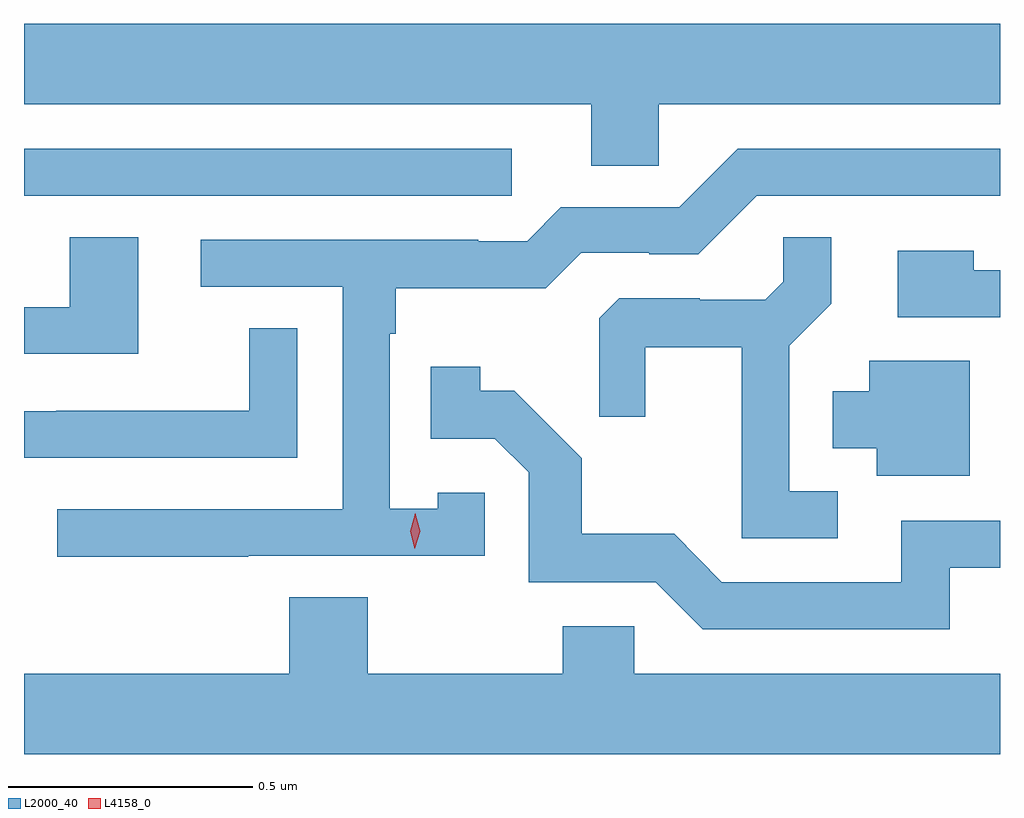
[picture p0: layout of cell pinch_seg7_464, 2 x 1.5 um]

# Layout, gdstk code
import gdstk
lib = gdstk.Library(unit=1e-6, precision=1e-09)
def R(c, l, rs):  # rectangles x0, y0, x1, y1
    for r in rs: c.add(gdstk.rectangle(r[:2], r[2:], *l))
def P(c, l, *ps):  # polygons
    for p in ps: c.add(gdstk.Polygon(p, *l))
L2000_40 = (2000, 40)
L4158_0 = (4158, 0)

pinch_seg7_464 = lib.new_cell('pinch_seg7_464')
R(pinch_seg7_464, L2000_40, [(293.905,1057.704,294.904,1057.8)])
P(pinch_seg7_464, L2000_40, [(295.206,1057.892),(295.905,1057.892),(295.905,1058.056),(293.905,1058.056),(293.905,1057.892),(295.067,1057.892),(295.067,1057.765),(295.206,1057.765)],
  [(294.365,1056.966),(294.849,1056.966),(294.849,1057.095),(294.753,1057.095),(294.753,1057.063),(294.654,1057.063),(294.654,1057.421),(294.667,1057.421),(294.667,1057.514),(294.974,1057.514),(295.047,1057.587),(295.186,1057.587),(295.186,1057.584),(295.287,1057.584),(295.407,1057.704),(295.905,1057.704),(295.905,1057.8),(295.368,1057.8),(295.248,1057.68),(295.005,1057.68),(294.936,1057.611),(294.836,1057.611),(294.836,1057.614),(294.267,1057.614),(294.267,1057.518),(294.558,1057.518),(294.558,1057.062),(293.973,1057.062),(293.973,1056.964),(294.365,1056.964)],
  [(294.139,1057.619),(293.999,1057.619),(293.999,1057.476),(293.905,1057.476),(293.905,1057.38),(294.139,1057.38)],
  [(295.573,1057.098),(295.473,1057.098),(295.473,1057.397),(295.559,1057.483),(295.559,1057.619),(295.461,1057.619),(295.461,1057.528),(295.424,1057.491),(295.29,1057.491),(295.29,1057.494),(295.125,1057.494),(295.084,1057.453),(295.084,1057.251),(295.178,1057.251),(295.178,1057.394),(295.376,1057.394),(295.376,1057.002),(295.573,1057.002)],
  [(295.905,1057.551),(295.851,1057.551),(295.851,1057.591),(295.695,1057.591),(295.695,1057.455),(295.905,1057.455)],
  [(294.465,1057.433),(294.367,1057.433),(294.367,1057.263),(293.971,1057.263),(293.971,1057.262),(293.905,1057.262),(293.905,1057.167),(294.465,1057.167)],
  [(295.843,1057.366),(295.637,1057.366),(295.637,1057.303),(295.562,1057.303),(295.562,1057.187),(295.652,1057.187),(295.652,1057.13),(295.843,1057.13)],
  [(295.802,1056.942),(295.905,1056.942),(295.905,1057.038),(295.703,1057.038),(295.703,1056.912),(295.335,1056.912),(295.237,1057.011),(295.048,1057.011),(295.048,1057.166),(294.91,1057.304),(294.84,1057.304),(294.84,1057.354),(294.739,1057.354),(294.739,1057.206),(294.87,1057.206),(294.939,1057.137),(294.939,1056.912),(295.2,1056.912),(295.296,1056.816),(295.802,1056.816)],
  [(295.905,1056.724),(295.155,1056.724),(295.155,1056.822),(295.009,1056.822),(295.009,1056.724),(294.609,1056.724),(294.609,1056.881),(294.449,1056.881),(294.449,1056.724),(293.905,1056.724),(293.905,1056.56),(295.905,1056.56)])
P(pinch_seg7_464, L4158_0, [(294.706,1056.981),(294.706,1056.981),(294.697,1057.017),(294.707,1057.053),(294.707,1057.053),(294.707,1057.053),(294.717,1057.017),(294.706,1056.981)])

lib.write_gds('pinch_seg7_464.gds')
